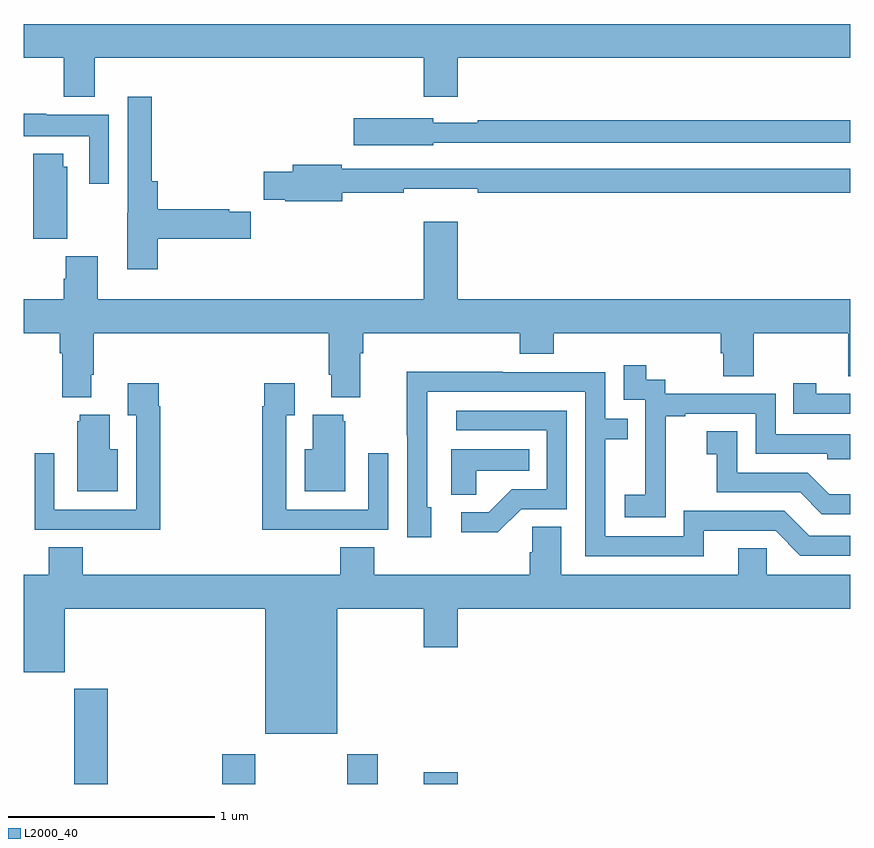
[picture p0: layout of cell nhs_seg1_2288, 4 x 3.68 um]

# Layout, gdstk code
import gdstk
lib = gdstk.Library(unit=1e-6, precision=1e-09)
def R(c, l, rs):  # rectangles x0, y0, x1, y1
    for r in rs: c.add(gdstk.rectangle(r[:2], r[2:], *l))
def P(c, l, *ps):  # polygons
    for p in ps: c.add(gdstk.Polygon(p, *l))
L2000_40 = (2000, 40)

nhs_seg1_2288 = lib.new_cell('nhs_seg1_2288')
R(nhs_seg1_2288, L2000_40, [(235.246,568.199,235.406,568.66), (235.961,568.199,236.121,568.342), (236.566,568.199,236.713,568.342), (236.936,568.199,237.1,568.255)])
P(nhs_seg1_2288, L2000_40, [(235.345,571.712),(236.936,571.712),(236.936,571.524),(237.1,571.524),(237.1,571.712),(239,571.712),(239,571.876),(235,571.876),(235,571.712),(235.193,571.712),(235.193,571.523),(235.345,571.523)],
  [(235.649,570.838),(236.099,570.838),(236.099,570.968),(235.994,570.968),(235.994,570.98),(235.649,570.98),(235.649,571.114),(235.619,571.114),(235.619,571.525),(235.503,571.525),(235.503,570.963),(235.502,570.963),(235.502,570.69),(235.649,570.69)],
  [(235.413,571.438),(235.109,571.438),(235.109,571.441),(235,571.441),(235,571.334),(235.317,571.334),(235.317,571.104),(235.413,571.104)],
  [(236.982,571.302),(239,571.302),(239,571.411),(237.196,571.411),(237.196,571.398),(236.982,571.398),(236.982,571.419),(236.598,571.419),(236.598,571.289),(236.982,571.289)],
  [(235.21,571.185),(235.192,571.185),(235.192,571.249),(235.046,571.249),(235.046,570.838),(235.21,570.838)],
  [(236.542,571.06),(236.84,571.06),(236.84,571.079),(237.196,571.079),(237.196,571.06),(239,571.06),(239,571.176),(236.538,571.176),(236.538,571.196),(236.303,571.196),(236.303,571.16),(236.161,571.16),(236.161,571.026),(236.266,571.026),(236.266,571.018),(236.542,571.018)],
  [(235.327,570.178),(235.34,570.178),(235.34,570.38),(236.477,570.38),(236.477,570.178),(236.489,570.178),(236.489,570.071),(236.629,570.071),(236.629,570.284),(236.642,570.284),(236.642,570.38),(237.401,570.38),(237.401,570.281),(237.566,570.281),(237.566,570.38),(238.373,570.38),(238.373,570.282),(238.385,570.282),(238.385,570.172),(238.533,570.172),(238.533,570.38),(238.99,570.38),(238.99,570.172),(239,570.172),(239,570.544),(237.1,570.544),(237.1,570.919),(236.936,570.919),(236.936,570.544),(235.358,570.544),(235.358,570.753),(235.205,570.753),(235.205,570.644),(235.193,570.644),(235.193,570.544),(235,570.544),(235,570.38),(235.175,570.38),(235.175,570.284),(235.187,570.284),(235.187,570.071),(235.327,570.071)],
  [(238.107,569.695),(238.106,569.695),(238.106,569.979),(238.201,569.979),(238.201,569.991),(238.542,569.991),(238.542,569.796),(238.887,569.796),(238.887,569.769),(239,569.769),(239,569.892),(238.638,569.892),(238.638,570.087),(238.104,570.087),(238.104,570.156),(238.012,570.156),(238.012,570.226),(237.903,570.226),(237.903,570.057),(238.008,570.057),(238.008,569.828),(238.007,569.828),(238.007,569.599),(237.909,569.599),(237.909,569.489),(238.107,569.489)],
  [(238.291,569.424),(238.638,569.424),(238.758,569.304),(239,569.304),(239,569.4),(238.8,569.4),(238.68,569.52),(238.194,569.52),(238.194,569.397),(237.813,569.397),(237.813,569.866),(237.923,569.866),(237.923,569.967),(237.813,569.967),(237.813,570.192),(237.317,570.192),(237.317,570.194),(236.854,570.194),(236.854,569.887),(236.856,569.887),(236.856,569.394),(236.971,569.394),(236.971,569.538),(236.952,569.538),(236.952,570.096),(237.717,570.096),(237.717,569.301),(238.291,569.301)],
  [(235.661,570.026),(235.654,570.026),(235.654,570.139),(235.505,570.139),(235.505,569.983),(235.545,569.983),(235.545,569.526),(235.149,569.526),(235.149,569.8),(235.053,569.8),(235.053,569.43),(235.369,569.43),(235.369,569.429),(235.661,569.429)],
  [(239,570.087),(238.834,570.087),(238.834,570.139),(238.723,570.139),(238.723,569.991),(239,569.991)],
  [(236.447,569.43),(236.763,569.43),(236.763,569.8),(236.667,569.8),(236.667,569.526),(236.271,569.526),(236.271,569.983),(236.311,569.983),(236.311,570.139),(236.163,570.139),(236.163,570.026),(236.155,570.026),(236.155,569.429),(236.447,569.429)],
  [(237.408,569.529),(237.627,569.529),(237.627,570.006),(237.093,570.006),(237.093,569.91),(237.531,569.91),(237.531,569.625),(237.362,569.625),(237.251,569.514),(237.117,569.514),(237.117,569.417),(237.295,569.417)],
  [(236.557,569.955),(236.546,569.955),(236.546,569.986),(236.399,569.986),(236.399,569.818),(236.36,569.818),(236.36,569.615),(236.557,569.615)],
  [(235.456,569.818),(235.417,569.818),(235.417,569.986),(235.271,569.986),(235.271,569.955),(235.259,569.955),(235.259,569.615),(235.456,569.615)],
  [(239,569.602),(238.898,569.602),(238.794,569.706),(238.452,569.706),(238.452,569.905),(238.305,569.905),(238.305,569.795),(238.354,569.795),(238.354,569.61),(238.757,569.61),(238.862,569.505),(239,569.505)],
  [(237.189,569.714),(237.446,569.714),(237.446,569.818),(237.068,569.818),(237.068,569.599),(237.189,569.599)],
  [(236.518,569.048),(236.936,569.048),(236.936,568.86),(237.1,568.86),(237.1,569.048),(239,569.048),(239,569.212),(238.596,569.212),(238.596,569.339),(238.457,569.339),(238.457,569.212),(237.601,569.212),(237.601,569.444),(237.462,569.444),(237.462,569.321),(237.449,569.321),(237.449,569.212),(236.696,569.212),(236.696,569.345),(236.531,569.345),(236.531,569.212),(235.286,569.212),(235.286,569.345),(235.121,569.345),(235.121,569.212),(235,569.212),(235,568.739),(235.198,568.739),(235.198,569.048),(236.168,569.048),(236.168,568.442),(236.518,568.442)])

lib.write_gds('nhs_seg1_2288.gds')
